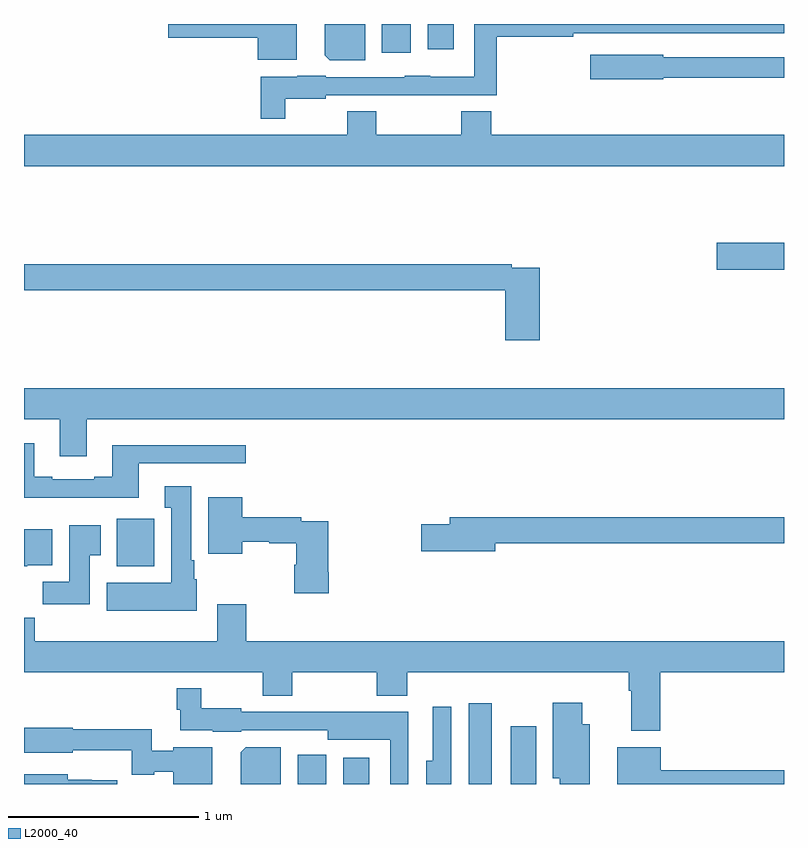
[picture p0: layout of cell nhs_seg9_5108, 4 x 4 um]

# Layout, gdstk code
import gdstk
lib = gdstk.Library(unit=1e-6, precision=1e-09)
def R(c, l, rs):  # rectangles x0, y0, x1, y1
    for r in rs: c.add(gdstk.rectangle(r[:2], r[2:], *l))
def P(c, l, *ps):  # polygons
    for p in ps: c.add(gdstk.Polygon(p, *l))
L2000_40 = (2000, 40)

nhs_seg9_5108 = lib.new_cell('nhs_seg9_5108')
R(nhs_seg9_5108, L2000_40, [(408.44,1194.5,408.592,1194.653), (408.68,1194.5,408.817,1194.637), (409.34,1194.5,409.462,1194.925), (409.562,1194.5,409.696,1194.805), (407.489,1195.646,407.685,1195.897), (410.646,1197.206,411,1197.348), (408.884,1198.35,409.036,1198.5), (409.124,1198.368,409.261,1198.5)])
P(nhs_seg9_5108, L2000_40, [(408.436,1198.5),(407.76,1198.5),(407.76,1198.427),(408.23,1198.427),(408.23,1198.313),(408.436,1198.313)],
  [(408.376,1198.106),(408.588,1198.106),(408.588,1198.125),(409.005,1198.125),(409.005,1198.124),(409.237,1198.124),(409.237,1198.125),(409.487,1198.125),(409.487,1198.432),(409.892,1198.432),(409.892,1198.452),(411,1198.452),(411,1198.5),(409.371,1198.5),(409.371,1198.222),(409.137,1198.222),(409.137,1198.228),(409.005,1198.228),(409.005,1198.221),(408.588,1198.221),(408.588,1198.228),(408.438,1198.228),(408.438,1198.222),(408.247,1198.222),(408.247,1198.001),(408.376,1198.001)],
  [(408.796,1198.5),(408.584,1198.5),(408.584,1198.336),(408.61,1198.31),(408.796,1198.31)],
  [(410.364,1198.218),(411,1198.218),(411,1198.326),(410.364,1198.326),(410.364,1198.339),(409.98,1198.339),(409.98,1198.21),(410.364,1198.21)],
  [(411,1197.916),(409.46,1197.916),(409.46,1198.04),(409.3,1198.04),(409.3,1197.916),(408.855,1197.916),(408.855,1198.04),(408.7,1198.04),(408.7,1197.916),(407,1197.916),(407,1197.752),(411,1197.752)],
  [(409.715,1197.216),(409.568,1197.216),(409.568,1197.236),(407,1197.236),(407,1197.1),(409.532,1197.1),(409.532,1196.835),(409.715,1196.835)],
  [(407.329,1196.42),(411,1196.42),(411,1196.584),(407,1196.584),(407,1196.42),(407.189,1196.42),(407.189,1196.226),(407.329,1196.226)],
  [(407.605,1196.187),(408.166,1196.187),(408.166,1196.284),(407.465,1196.284),(407.465,1196.116),(407.369,1196.116),(407.369,1196.103),(407.149,1196.103),(407.149,1196.116),(407.053,1196.116),(407.053,1196.293),(407,1196.293),(407,1196.006),(407.605,1196.006)],
  [(407.908,1195.578),(407.896,1195.578),(407.896,1195.678),(407.881,1195.678),(407.881,1196.068),(407.741,1196.068),(407.741,1195.955),(407.774,1195.955),(407.774,1195.558),(407.435,1195.558),(407.435,1195.412),(407.908,1195.412)],
  [(408.605,1195.615),(408.6,1195.615),(408.6,1195.884),(408.458,1195.884),(408.458,1195.904),(408.148,1195.904),(408.148,1196.008),(407.969,1196.008),(407.969,1195.712),(408.148,1195.712),(408.148,1195.776),(408.291,1195.776),(408.291,1195.768),(408.434,1195.768),(408.434,1195.653),(408.422,1195.653),(408.422,1195.503),(408.605,1195.503)],
  [(409.48,1195.768),(411,1195.768),(411,1195.904),(409.241,1195.904),(409.241,1195.868),(409.092,1195.868),(409.092,1195.726),(409.48,1195.726)],
  [(407.347,1195.705),(407.404,1195.705),(407.404,1195.861),(407.237,1195.861),(407.237,1195.564),(407.098,1195.564),(407.098,1195.446),(407.347,1195.446)],
  [(407.016,1195.652),(407.149,1195.652),(407.149,1195.84),(407,1195.84),(407,1195.646),(407.016,1195.646)],
  [(410.348,1195.088),(411,1195.088),(411,1195.252),(408.17,1195.252),(408.17,1195.447),(408.017,1195.447),(408.017,1195.252),(407.057,1195.252),(407.057,1195.376),(407,1195.376),(407,1195.088),(408.256,1195.088),(408.256,1194.964),(408.411,1194.964),(408.411,1195.088),(408.856,1195.088),(408.856,1194.965),(409.016,1194.965),(409.016,1195.088),(410.183,1195.088),(410.183,1194.992),(410.195,1194.992),(410.195,1194.779),(410.348,1194.779)],
  [(409.023,1194.88),(408.661,1194.88),(408.661,1194.879),(408.144,1194.879),(408.144,1194.898),(407.932,1194.898),(407.932,1195.003),(407.803,1195.003),(407.803,1194.89),(407.822,1194.89),(407.822,1194.782),(407.994,1194.782),(407.994,1194.776),(408.144,1194.776),(408.144,1194.783),(408.599,1194.783),(408.599,1194.734),(408.927,1194.734),(408.927,1194.5),(409.023,1194.5)],
  [(409.978,1194.814),(409.939,1194.814),(409.939,1194.928),(409.784,1194.928),(409.784,1194.53),(409.82,1194.53),(409.82,1194.5),(409.978,1194.5)],
  [(409.248,1194.907),(409.152,1194.907),(409.152,1194.622),(409.118,1194.622),(409.118,1194.5),(409.248,1194.5)],
  [(407.992,1194.694),(407.786,1194.694),(407.786,1194.676),(407.673,1194.676),(407.673,1194.787),(407.256,1194.787),(407.256,1194.795),(407,1194.795),(407,1194.665),(407.256,1194.665),(407.256,1194.677),(407.567,1194.677),(407.567,1194.549),(407.685,1194.549),(407.685,1194.565),(407.786,1194.565),(407.786,1194.5),(407.992,1194.5)],
  [(411,1194.572),(410.35,1194.572),(410.35,1194.694),(410.123,1194.694),(410.123,1194.5),(411,1194.5)],
  [(408.352,1194.694),(408.166,1194.694),(408.14,1194.668),(408.14,1194.5),(408.352,1194.5)],
  [(407.491,1194.521),(407.356,1194.521),(407.356,1194.523),(407.23,1194.523),(407.23,1194.552),(407,1194.552),(407,1194.5),(407.491,1194.5)])

lib.write_gds('nhs_seg9_5108.gds')
